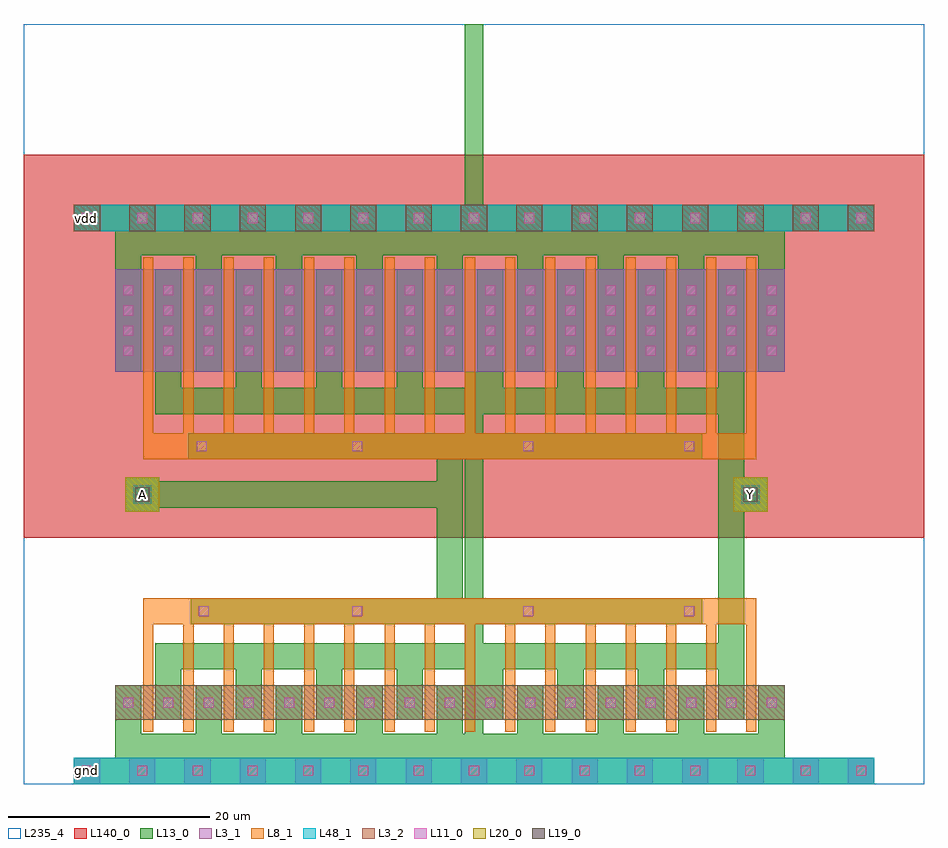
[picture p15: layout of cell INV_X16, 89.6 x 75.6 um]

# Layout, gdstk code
import gdstk
lib = gdstk.Library(unit=1e-6, precision=1e-09)
def R(c, l, rs):  # rectangles x0, y0, x1, y1
    for r in rs: c.add(gdstk.rectangle(r[:2], r[2:], *l))
def A(c, l, x, y, w, h, nx, ny, dx, dy):  # array of equal rectangles
    R(c, l, [(x+i*dx, y+j*dy, x+i*dx+w, y+j*dy+h) for i in range(nx) for j in range(ny)])
def P(c, l, *ps):  # polygons
    for p in ps: c.add(gdstk.Polygon(p, *l))
L3_1 = (3, 1)
L3_2 = (3, 2)
L8_1 = (8, 1)
L11_0 = (11, 0)
L13_0 = (13, 0)
L19_0 = (19, 0)
L20_0 = (20, 0)
L48_1 = (48, 1)
L140_0 = (140, 0)
L235_4 = (235, 4)

inv_x16 = lib.new_cell('INV_X16')
A(inv_x16, L3_1, 5, 0, 2.6, 2.6, 15, 1, 5.5, 0)
R(inv_x16, L3_1, [(9.1,41,75.7,51.2)])
A(inv_x16, L3_2, 5, 55, 2.6, 2.6, 15, 1, 5.5, 0)
R(inv_x16, L3_2, [(9.1,6.4,75.7,9.8)])
P(inv_x16, L8_1, [(11.9,5.2),(11.9,18.5),(72.9,18.5),(72.9,5.2),(71.9,5.2),(71.9,15.9),(68.9,15.9),(68.9,5.2),(67.9,5.2),(67.9,15.9),(64.9,15.9),(64.9,5.2),(63.9,5.2),(63.9,15.9),(60.9,15.9),(60.9,5.2),(59.9,5.2),(59.9,15.9),(56.9,15.9),(56.9,5.2),(55.9,5.2),(55.9,15.9),(52.9,15.9),(52.9,5.2),(51.9,5.2),(51.9,15.9),(48.9,15.9),(48.9,5.2),(47.9,5.2),(47.9,15.9),(44.9,15.9),(44.9,5.2),(43.9,5.2),(43.9,15.9),(40.9,15.9),(40.9,5.2),(39.9,5.2),(39.9,15.9),(36.9,15.9),(36.9,5.2),(35.9,5.2),(35.9,15.9),(32.9,15.9),(32.9,5.2),(31.9,5.2),(31.9,15.9),(28.9,15.9),(28.9,5.2),(27.9,5.2),(27.9,15.9),(24.9,15.9),(24.9,5.2),(23.9,5.2),(23.9,15.9),(20.9,15.9),(20.9,5.2),(19.9,5.2),(19.9,15.9),(16.9,15.9),(16.9,5.2),(15.9,5.2),(15.9,15.9),(12.9,15.9),(12.9,5.2)],
  [(11.9,32.3),(11.9,52.4),(12.9,52.4),(12.9,34.9),(15.9,34.9),(15.9,52.4),(16.9,52.4),(16.9,34.9),(19.9,34.9),(19.9,52.4),(20.9,52.4),(20.9,34.9),(23.9,34.9),(23.9,52.4),(24.9,52.4),(24.9,34.9),(27.9,34.9),(27.9,52.4),(28.9,52.4),(28.9,34.9),(31.9,34.9),(31.9,52.4),(32.9,52.4),(32.9,34.9),(35.9,34.9),(35.9,52.4),(36.9,52.4),(36.9,34.9),(39.9,34.9),(39.9,52.4),(40.9,52.4),(40.9,34.9),(43.9,34.9),(43.9,52.4),(44.9,52.4),(44.9,34.9),(47.9,34.9),(47.9,52.4),(48.9,52.4),(48.9,34.9),(51.9,34.9),(51.9,52.4),(52.9,52.4),(52.9,34.9),(55.9,34.9),(55.9,52.4),(56.9,52.4),(56.9,34.9),(59.9,34.9),(59.9,52.4),(60.9,52.4),(60.9,34.9),(63.9,34.9),(63.9,52.4),(64.9,52.4),(64.9,34.9),(67.9,34.9),(67.9,52.4),(68.9,52.4),(68.9,34.9),(71.9,34.9),(71.9,52.4),(72.9,52.4),(72.9,32.3)])
A(inv_x16, L11_0, 5.8, 0.8, 1, 1, 15, 2, 5.5, 55)
A(inv_x16, L11_0, 9.9, 7.6, 1, 1, 17, 2, 4, 35)
A(inv_x16, L11_0, 9.9, 44.6, 1, 1, 17, 3, 4, 2)
R(inv_x16, L11_0, [(17.4,16.7,18.4,17.7), (32.7,16.7,33.7,17.7), (49.7,16.7,50.7,17.7), (65.7,16.7,66.7,17.7), (17.2,33.1,18.2,34.1), (32.7,33.1,33.7,34.1), (49.7,33.1,50.7,34.1), (65.7,33.1,66.7,34.1)])
P(inv_x16, L13_0, [(5,0),(5,2.6),(9.1,2.6),(9.1,9.8),(11.7,9.8),(11.7,5),(17.1,5),(17.1,9.8),(19.7,9.8),(19.7,5),(25.1,5),(25.1,9.8),(27.7,9.8),(27.7,5),(33.1,5),(33.1,9.8),(35.7,9.8),(35.7,5),(41.1,5),(41.1,9.8),(43.7,9.8),(43.7,5),(43.9,5),(43.9,11.4),(39.7,11.4),(39.7,6.4),(37.1,6.4),(37.1,11.4),(31.7,11.4),(31.7,6.4),(29.1,6.4),(29.1,11.4),(23.7,11.4),(23.7,6.4),(21.1,6.4),(21.1,11.4),(15.7,11.4),(15.7,6.4),(13.1,6.4),(13.1,14),(43.9,14),(43.9,15.9),(16.6,15.9),(16.6,18.5),(41.1,18.5),(41.1,27.5),(13.5,27.5),(13.5,27.1),(10.1,27.1),(10.1,30.5),(13.5,30.5),(13.5,30.1),(41.1,30.1),(41.1,32.3),(43.7,32.3),(43.7,18.5),(43.9,18.5),(43.9,32.3),(16.4,32.3),(16.4,34.9),(43.9,34.9),(43.9,36.8),(45.7,36.8),(45.7,34.9),(67.5,34.9),(67.5,32.3),(45.7,32.3),(45.7,18.5),(67.5,18.5),(67.5,15.9),(45.7,15.9),(45.7,14),(69.1,14),(69.1,36.8),(13.1,36.8),(13.1,51.2),(15.7,51.2),(15.7,39.4),(21.1,39.4),(21.1,51.2),(23.7,51.2),(23.7,39.4),(29.1,39.4),(29.1,51.2),(31.7,51.2),(31.7,39.4),(37.1,39.4),(37.1,51.2),(39.7,51.2),(39.7,39.4),(43.9,39.4),(43.9,41),(45.1,41),(45.1,51.2),(47.7,51.2),(47.7,39.4),(53.1,39.4),(53.1,51.2),(55.7,51.2),(55.7,39.4),(61.1,39.4),(61.1,51.2),(63.7,51.2),(63.7,39.4),(69.1,39.4),(69.1,51.2),(71.7,51.2),(71.7,30.5),(74,30.5),(74,27.1),(71.7,27.1),(71.7,6.4),(69.1,6.4),(69.1,11.4),(63.7,11.4),(63.7,6.4),(61.1,6.4),(61.1,11.4),(55.7,11.4),(55.7,6.4),(53.1,6.4),(53.1,11.4),(47.7,11.4),(47.7,6.4),(45.7,6.4),(45.7,5),(49.1,5),(49.1,9.8),(51.7,9.8),(51.7,5),(57.1,5),(57.1,9.8),(59.7,9.8),(59.7,5),(65.1,5),(65.1,9.8),(67.7,9.8),(67.7,5),(73.1,5),(73.1,9.8),(75.7,9.8),(75.7,2.6),(84.6,2.6),(84.6,0)],
  [(9.1,41),(9.1,55),(5,55),(5,57.6),(43.9,57.6),(43.9,75.6),(45.7,75.6),(45.7,57.6),(84.6,57.6),(84.6,55),(75.7,55),(75.7,41),(73.1,41),(73.1,52.6),(67.7,52.6),(67.7,41),(65.1,41),(65.1,52.6),(59.7,52.6),(59.7,41),(57.1,41),(57.1,52.6),(51.7,52.6),(51.7,41),(49.1,41),(49.1,52.6),(43.7,52.6),(43.7,41),(41.1,41),(41.1,52.6),(35.7,52.6),(35.7,41),(33.1,41),(33.1,52.6),(27.7,52.6),(27.7,41),(25.1,41),(25.1,52.6),(19.7,52.6),(19.7,41),(17.1,41),(17.1,52.6),(11.7,52.6),(11.7,41)])
R(inv_x16, L19_0, [(11.1,28.1,12.5,29.5), (71.6,28.1,73,29.5)])
R(inv_x16, L20_0, [(10.1,27.1,13.5,30.5), (70.6,27.1,74,30.5)])
R(inv_x16, L48_1, [(5,0,84.6,2.6), (10.9,27.9,12.7,29.7), (71.4,27.9,73.2,29.7), (5,55,84.6,57.6)])
R(inv_x16, L140_0, [(0,24.5,89.6,62.6)])
R(inv_x16, L235_4, [(0,0,89.6,75.6)])
inv_x16.add(gdstk.Label('Y', (72.3,28.8), layer=48, texttype=0))
inv_x16.add(gdstk.Label('A', (11.8,28.8), layer=48, texttype=0))
inv_x16.add(gdstk.Label('vdd', (6.3,56.3), layer=48, texttype=0))
inv_x16.add(gdstk.Label('gnd', (6.3,1.3), layer=48, texttype=0))
inv_x16.add(gdstk.Label('A', (11.8,28.8), layer=49, texttype=0))
inv_x16.add(gdstk.Label('Y', (72.3,28.8), layer=49, texttype=0))

lib.write_gds('INV_X16.gds')
